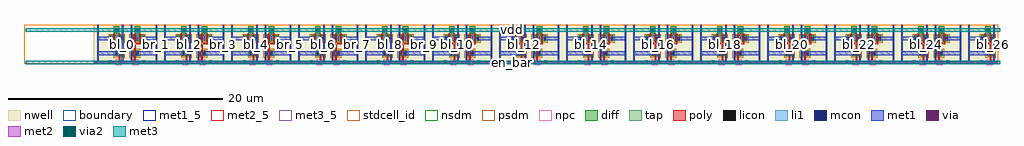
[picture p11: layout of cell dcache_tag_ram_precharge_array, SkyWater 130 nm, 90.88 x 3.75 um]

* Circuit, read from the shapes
.subckt dcache_tag_ram_precharge_array bl_0 bl_1 bl_10 bl_11 bl_12 bl_13 bl_14 bl_15 bl_16 bl_17 bl_18 bl_19 bl_2 bl_20 bl_21 bl_22 bl_23 bl_24 bl_25 bl_26 bl_3 bl_4 bl_5 bl_6 bl_7 bl_8 bl_9 br_0 br_1 br_10 br_11 br_12 br_13 br_14 br_15 br_16 br_17 br_18 br_19 br_2 br_20 br_21 br_22 br_23 br_24 br_25 br_26 br_3 br_4 br_5 br_6 br_7 br_8 br_9 en_bar vdd
XM1 vdd en_bar br_0 vdd sky130_fd_pr__pfet_01v8 w=0.55 l=0.15
XM2 bl_0 en_bar br_0 vdd sky130_fd_pr__pfet_01v8 w=0.55 l=0.15
XM3 bl_0 en_bar vdd vdd sky130_fd_pr__pfet_01v8 w=0.55 l=0.15
XM4 br_1 en_bar bl_1 vdd sky130_fd_pr__pfet_01v8 w=0.55 l=0.15
XM5 vdd en_bar bl_1 vdd sky130_fd_pr__pfet_01v8 w=0.55 l=0.15
XM6 br_1 en_bar vdd vdd sky130_fd_pr__pfet_01v8 w=0.55 l=0.15
XM7 vdd en_bar br_2 vdd sky130_fd_pr__pfet_01v8 w=0.55 l=0.15
XM8 bl_2 en_bar br_2 vdd sky130_fd_pr__pfet_01v8 w=0.55 l=0.15
XM9 bl_2 en_bar vdd vdd sky130_fd_pr__pfet_01v8 w=0.55 l=0.15
XM10 br_3 en_bar bl_3 vdd sky130_fd_pr__pfet_01v8 w=0.55 l=0.15
XM11 vdd en_bar bl_3 vdd sky130_fd_pr__pfet_01v8 w=0.55 l=0.15
XM12 br_3 en_bar vdd vdd sky130_fd_pr__pfet_01v8 w=0.55 l=0.15
XM13 vdd en_bar br_4 vdd sky130_fd_pr__pfet_01v8 w=0.55 l=0.15
XM14 bl_4 en_bar br_4 vdd sky130_fd_pr__pfet_01v8 w=0.55 l=0.15
XM15 bl_4 en_bar vdd vdd sky130_fd_pr__pfet_01v8 w=0.55 l=0.15
XM16 br_5 en_bar bl_5 vdd sky130_fd_pr__pfet_01v8 w=0.55 l=0.15
XM17 vdd en_bar bl_5 vdd sky130_fd_pr__pfet_01v8 w=0.55 l=0.15
XM18 br_5 en_bar vdd vdd sky130_fd_pr__pfet_01v8 w=0.55 l=0.15
XM19 vdd en_bar br_6 vdd sky130_fd_pr__pfet_01v8 w=0.55 l=0.15
XM20 bl_6 en_bar br_6 vdd sky130_fd_pr__pfet_01v8 w=0.55 l=0.15
XM21 bl_6 en_bar vdd vdd sky130_fd_pr__pfet_01v8 w=0.55 l=0.15
XM22 br_7 en_bar bl_7 vdd sky130_fd_pr__pfet_01v8 w=0.55 l=0.15
XM23 vdd en_bar bl_7 vdd sky130_fd_pr__pfet_01v8 w=0.55 l=0.15
XM24 br_7 en_bar vdd vdd sky130_fd_pr__pfet_01v8 w=0.55 l=0.15
XM25 vdd en_bar br_8 vdd sky130_fd_pr__pfet_01v8 w=0.55 l=0.15
XM26 bl_8 en_bar br_8 vdd sky130_fd_pr__pfet_01v8 w=0.55 l=0.15
XM27 bl_8 en_bar vdd vdd sky130_fd_pr__pfet_01v8 w=0.55 l=0.15
XM28 br_9 en_bar bl_9 vdd sky130_fd_pr__pfet_01v8 w=0.55 l=0.15
XM29 vdd en_bar bl_9 vdd sky130_fd_pr__pfet_01v8 w=0.55 l=0.15
XM30 br_9 en_bar vdd vdd sky130_fd_pr__pfet_01v8 w=0.55 l=0.15
XM31 vdd en_bar br_10 vdd sky130_fd_pr__pfet_01v8 w=0.55 l=0.15
XM32 bl_10 en_bar br_10 vdd sky130_fd_pr__pfet_01v8 w=0.55 l=0.15
XM33 bl_10 en_bar vdd vdd sky130_fd_pr__pfet_01v8 w=0.55 l=0.15
XM34 br_11 en_bar bl_11 vdd sky130_fd_pr__pfet_01v8 w=0.55 l=0.15
XM35 vdd en_bar bl_11 vdd sky130_fd_pr__pfet_01v8 w=0.55 l=0.15
XM36 br_11 en_bar vdd vdd sky130_fd_pr__pfet_01v8 w=0.55 l=0.15
XM37 vdd en_bar br_12 vdd sky130_fd_pr__pfet_01v8 w=0.55 l=0.15
XM38 bl_12 en_bar br_12 vdd sky130_fd_pr__pfet_01v8 w=0.55 l=0.15
XM39 bl_12 en_bar vdd vdd sky130_fd_pr__pfet_01v8 w=0.55 l=0.15
XM40 br_13 en_bar bl_13 vdd sky130_fd_pr__pfet_01v8 w=0.55 l=0.15
XM41 vdd en_bar bl_13 vdd sky130_fd_pr__pfet_01v8 w=0.55 l=0.15
XM42 br_13 en_bar vdd vdd sky130_fd_pr__pfet_01v8 w=0.55 l=0.15
XM43 vdd en_bar br_14 vdd sky130_fd_pr__pfet_01v8 w=0.55 l=0.15
XM44 bl_14 en_bar br_14 vdd sky130_fd_pr__pfet_01v8 w=0.55 l=0.15
XM45 bl_14 en_bar vdd vdd sky130_fd_pr__pfet_01v8 w=0.55 l=0.15
XM46 br_15 en_bar bl_15 vdd sky130_fd_pr__pfet_01v8 w=0.55 l=0.15
XM47 vdd en_bar bl_15 vdd sky130_fd_pr__pfet_01v8 w=0.55 l=0.15
XM48 br_15 en_bar vdd vdd sky130_fd_pr__pfet_01v8 w=0.55 l=0.15
XM49 vdd en_bar br_16 vdd sky130_fd_pr__pfet_01v8 w=0.55 l=0.15
XM50 bl_16 en_bar br_16 vdd sky130_fd_pr__pfet_01v8 w=0.55 l=0.15
XM51 bl_16 en_bar vdd vdd sky130_fd_pr__pfet_01v8 w=0.55 l=0.15
XM52 br_17 en_bar bl_17 vdd sky130_fd_pr__pfet_01v8 w=0.55 l=0.15
XM53 vdd en_bar bl_17 vdd sky130_fd_pr__pfet_01v8 w=0.55 l=0.15
XM54 br_17 en_bar vdd vdd sky130_fd_pr__pfet_01v8 w=0.55 l=0.15
XM55 vdd en_bar br_18 vdd sky130_fd_pr__pfet_01v8 w=0.55 l=0.15
XM56 bl_18 en_bar br_18 vdd sky130_fd_pr__pfet_01v8 w=0.55 l=0.15
XM57 bl_18 en_bar vdd vdd sky130_fd_pr__pfet_01v8 w=0.55 l=0.15
XM58 br_19 en_bar bl_19 vdd sky130_fd_pr__pfet_01v8 w=0.55 l=0.15
XM59 vdd en_bar bl_19 vdd sky130_fd_pr__pfet_01v8 w=0.55 l=0.15
XM60 br_19 en_bar vdd vdd sky130_fd_pr__pfet_01v8 w=0.55 l=0.15
XM61 vdd en_bar br_20 vdd sky130_fd_pr__pfet_01v8 w=0.55 l=0.15
XM62 bl_20 en_bar br_20 vdd sky130_fd_pr__pfet_01v8 w=0.55 l=0.15
XM63 bl_20 en_bar vdd vdd sky130_fd_pr__pfet_01v8 w=0.55 l=0.15
XM64 br_21 en_bar bl_21 vdd sky130_fd_pr__pfet_01v8 w=0.55 l=0.15
XM65 vdd en_bar bl_21 vdd sky130_fd_pr__pfet_01v8 w=0.55 l=0.15
XM66 br_21 en_bar vdd vdd sky130_fd_pr__pfet_01v8 w=0.55 l=0.15
XM67 vdd en_bar br_22 vdd sky130_fd_pr__pfet_01v8 w=0.55 l=0.15
XM68 bl_22 en_bar br_22 vdd sky130_fd_pr__pfet_01v8 w=0.55 l=0.15
XM69 bl_22 en_bar vdd vdd sky130_fd_pr__pfet_01v8 w=0.55 l=0.15
XM70 br_23 en_bar bl_23 vdd sky130_fd_pr__pfet_01v8 w=0.55 l=0.15
XM71 vdd en_bar bl_23 vdd sky130_fd_pr__pfet_01v8 w=0.55 l=0.15
XM72 br_23 en_bar vdd vdd sky130_fd_pr__pfet_01v8 w=0.55 l=0.15
XM73 vdd en_bar br_24 vdd sky130_fd_pr__pfet_01v8 w=0.55 l=0.15
XM74 bl_24 en_bar br_24 vdd sky130_fd_pr__pfet_01v8 w=0.55 l=0.15
XM75 bl_24 en_bar vdd vdd sky130_fd_pr__pfet_01v8 w=0.55 l=0.15
XM76 br_25 en_bar bl_25 vdd sky130_fd_pr__pfet_01v8 w=0.55 l=0.15
XM77 vdd en_bar bl_25 vdd sky130_fd_pr__pfet_01v8 w=0.55 l=0.15
XM78 br_25 en_bar vdd vdd sky130_fd_pr__pfet_01v8 w=0.55 l=0.15
XM79 vdd en_bar br_26 vdd sky130_fd_pr__pfet_01v8 w=0.55 l=0.15
XM80 bl_26 en_bar br_26 vdd sky130_fd_pr__pfet_01v8 w=0.55 l=0.15
XM81 bl_26 en_bar vdd vdd sky130_fd_pr__pfet_01v8 w=0.55 l=0.15
.ends

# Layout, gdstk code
from math import pi, radians
import gdstk
lib = gdstk.Library(unit=1e-6, precision=1e-09)
def R(c, l, rs):  # rectangles x0, y0, x1, y1
    for r in rs: c.add(gdstk.rectangle(r[:2], r[2:], *l))
def A(c, l, x, y, w, h, nx, ny, dx, dy):  # array of equal rectangles
    R(c, l, [(x+i*dx, y+j*dy, x+i*dx+w, y+j*dy+h) for i in range(nx) for j in range(ny)])
nwell = (64, 20)
diff = (65, 20)
tap = (65, 44)
poly = (66, 20)
licon = (66, 44)
li1 = (67, 20)
mcon = (67, 44)
met1_5 = (68, 5)
met1 = (68, 20)
via = (68, 44)
met2_5 = (69, 5)
met2 = (69, 20)
via2 = (69, 44)
met3_5 = (70, 5)
met3 = (70, 20)
stdcell_id = (81, 4)
nsdm = (93, 44)
psdm = (94, 20)
npc = (95, 20)
boundary = (235, 4)

dcache_tag_ram_contact_1 = lib.new_cell('dcache_tag_ram_contact_11')
R(dcache_tag_ram_contact_1, nwell, [(-0.295,-0.255,0.545,0.585)])
R(dcache_tag_ram_contact_1, diff, [(0,0.02,0.25,0.31)])
R(dcache_tag_ram_contact_1, licon, [(0.04,0.08,0.21,0.25)])
R(dcache_tag_ram_contact_1, li1, [(0.04,0,0.21,0.33)])
R(dcache_tag_ram_contact_1, stdcell_id, [(-0.295,-0.255,0.545,0.585)])
R(dcache_tag_ram_contact_1, psdm, [(-0.125,-0.105,0.375,0.435)])
R(dcache_tag_ram_contact_1, boundary, [(-0.295,-0.255,0.545,0.585)])

dcache_tag_ram_pmos_m1_w = lib.new_cell('dcache_tag_ram_pmos_m1_w0_550_sli_dli')
R(dcache_tag_ram_pmos_m1_w, nwell, [(-0.27,-0.27,1.02,0.82)])
R(dcache_tag_ram_pmos_m1_w, diff, [(0,0,0.75,0.55)])
R(dcache_tag_ram_pmos_m1_w, poly, [(0.3,-0.13,0.45,0.68), (0.3,-0.13,0.45,0.68)])
R(dcache_tag_ram_pmos_m1_w, li1, [(0.04,0.11,0.21,0.44), (0.54,0.11,0.71,0.44)])
R(dcache_tag_ram_pmos_m1_w, stdcell_id, [(-0.27,-0.27,1.02,0.82)])
R(dcache_tag_ram_pmos_m1_w, psdm, [(-0.125,-0.125,0.875,0.675)])
R(dcache_tag_ram_pmos_m1_w, boundary, [(-0.27,-0.27,1.02,0.82)])
dcache_tag_ram_pmos_m1_w.add(gdstk.Reference(dcache_tag_ram_contact_1, (0,0.11)))
dcache_tag_ram_pmos_m1_w.add(gdstk.Reference(dcache_tag_ram_contact_1, (0.5,0.11)))
dcache_tag_ram_pmos_m1_w.add(gdstk.Label('G', (0.375,0.275), layer=66, texttype=5))
dcache_tag_ram_pmos_m1_w.add(gdstk.Label('S', (0.125,0.275), layer=67, texttype=5))
dcache_tag_ram_pmos_m1_w.add(gdstk.Label('D', (0.625,0.275), layer=67, texttype=5))

c_dcache_tag_ram_contact_1 = lib.new_cell('dcache_tag_ram_contact_15')
R(c_dcache_tag_ram_contact_1, poly, [(0,0,0.33,0.33)])
R(c_dcache_tag_ram_contact_1, licon, [(0.08,0.08,0.25,0.25)])
R(c_dcache_tag_ram_contact_1, li1, [(0.08,0,0.25,0.33)])
R(c_dcache_tag_ram_contact_1, stdcell_id, [(-0.1,-0.1,0.43,0.43)])
R(c_dcache_tag_ram_contact_1, npc, [(-0.1,-0.1,0.43,0.43)])
R(c_dcache_tag_ram_contact_1, boundary, [(-0.1,-0.1,0.43,0.43)])

c_dcache_tag_ram_contact_1_ = lib.new_cell('dcache_tag_ram_contact_13')
R(c_dcache_tag_ram_contact_1_, li1, [(0.06,0,0.23,0.33)])
R(c_dcache_tag_ram_contact_1_, mcon, [(0.06,0.08,0.23,0.25)])
R(c_dcache_tag_ram_contact_1_, met1, [(0,0.05,0.29,0.28)])
R(c_dcache_tag_ram_contact_1_, stdcell_id, [(0,0,0.29,0.33)])
R(c_dcache_tag_ram_contact_1_, boundary, [(0,0,0.29,0.33)])

c_dcache_tag_ram_contact_1__ = lib.new_cell('dcache_tag_ram_contact_18')
R(c_dcache_tag_ram_contact_1__, met1, [(0,0.03,0.32,0.29)])
R(c_dcache_tag_ram_contact_1__, via, [(0.085,0.085,0.235,0.235)])
R(c_dcache_tag_ram_contact_1__, met2, [(0.03,0,0.29,0.32)])
R(c_dcache_tag_ram_contact_1__, stdcell_id, [(0,0,0.32,0.32)])
R(c_dcache_tag_ram_contact_1__, boundary, [(0,0,0.32,0.32)])

c_dcache_tag_ram_contact_1___ = lib.new_cell('dcache_tag_ram_contact_12')
R(c_dcache_tag_ram_contact_1___, nwell, [(-0.295,-0.215,0.545,0.625)])
R(c_dcache_tag_ram_contact_1___, tap, [(0,0,0.25,0.41)])
R(c_dcache_tag_ram_contact_1___, licon, [(0.04,0.12,0.21,0.29)])
R(c_dcache_tag_ram_contact_1___, li1, [(0.04,0.04,0.21,0.37)])
R(c_dcache_tag_ram_contact_1___, stdcell_id, [(-0.295,-0.215,0.545,0.625)])
R(c_dcache_tag_ram_contact_1___, nsdm, [(-0.125,-0.125,0.375,0.535)])
R(c_dcache_tag_ram_contact_1___, boundary, [(-0.295,-0.215,0.545,0.625)])

dcache_tag_ram_contact_2 = lib.new_cell('dcache_tag_ram_contact_23')
R(dcache_tag_ram_contact_2, li1, [(0.03,0,0.2,0.33)])
R(dcache_tag_ram_contact_2, mcon, [(0.03,0.08,0.2,0.25)])
R(dcache_tag_ram_contact_2, met1, [(0,0.02,0.23,0.31)])
R(dcache_tag_ram_contact_2, stdcell_id, [(0,0,0.23,0.33)])
R(dcache_tag_ram_contact_2, boundary, [(0,0,0.23,0.33)])

dcache_tag_ram_precharge = lib.new_cell('dcache_tag_ram_precharge_0')
R(dcache_tag_ram_precharge, nwell, [(0,0,3.12,3.61)])
R(dcache_tag_ram_precharge, poly, [(0.64,0.05,0.79,0.2), (0.715,0.05,0.79,0.2), (0.64,0.125,0.79,0.56), (0.64,1.37,0.79,1.95), (0.64,1.8,1.29,1.95)])
R(dcache_tag_ram_precharge, li1, [(0.88,2.355,1.05,3.14), (0.88,3.055,1.05,3.225)])
R(dcache_tag_ram_precharge, met1_5, [(0.33,0,0.47,3.61), (2.65,0,2.79,3.61)])
R(dcache_tag_ram_precharge, met1, [(0.63,-0.005,0.95,0.255), (0.33,0,0.47,3.61), (0.33,0,0.47,3.61), (2.65,0,2.79,3.61), (2.65,0,2.79,3.61), (0.4,0.8,0.465,1.13), (0.965,0.8,2.72,1.13), (0.4,2.19,0.465,2.52), (1.465,2.19,2.72,2.52)])
R(dcache_tag_ram_precharge, met2_5, [(0,0.055,3.12,0.195)])
R(dcache_tag_ram_precharge, met2, [(0,0.055,3.12,0.195)])
R(dcache_tag_ram_precharge, stdcell_id, [(0,0,3.12,3.61)])
R(dcache_tag_ram_precharge, boundary, [(0,0,3.12,3.61)])
dcache_tag_ram_precharge.add(gdstk.Reference(dcache_tag_ram_pmos_m1_w, (0.34,0.69)))
dcache_tag_ram_precharge.add(gdstk.Reference(dcache_tag_ram_pmos_m1_w, (0.34,2.08)))
dcache_tag_ram_precharge.add(gdstk.Reference(dcache_tag_ram_pmos_m1_w, (0.84,2.08)))
dcache_tag_ram_precharge.add(gdstk.Reference(c_dcache_tag_ram_contact_1, (0.625,-0.04)))
dcache_tag_ram_precharge.add(gdstk.Reference(c_dcache_tag_ram_contact_1_, (0.645,-0.04)))
dcache_tag_ram_precharge.add(gdstk.Reference(c_dcache_tag_ram_contact_1__, (0.63,-0.035)))
dcache_tag_ram_precharge.add(gdstk.Reference(c_dcache_tag_ram_contact_1___, (0.84,2.935)))
dcache_tag_ram_precharge.add(gdstk.Reference(c_dcache_tag_ram_contact_1_, (0.82,2.975)))
dcache_tag_ram_precharge.add(gdstk.Reference(dcache_tag_ram_contact_2, (0.35,0.8)))
dcache_tag_ram_precharge.add(gdstk.Reference(dcache_tag_ram_contact_2, (0.85,0.8)))
dcache_tag_ram_precharge.add(gdstk.Reference(dcache_tag_ram_contact_2, (0.35,2.19)))
dcache_tag_ram_precharge.add(gdstk.Reference(dcache_tag_ram_contact_2, (1.35,2.19)))
dcache_tag_ram_precharge.add(gdstk.Label('en_bar', (1.56,0.125), layer=69, texttype=5))
dcache_tag_ram_precharge.add(gdstk.Label('vdd', (0.965,3.14), layer=67, texttype=5))
dcache_tag_ram_precharge.add(gdstk.Label('bl', (0.4,1.805), layer=68, texttype=5))
dcache_tag_ram_precharge.add(gdstk.Label('br', (2.72,1.805), layer=68, texttype=5))

c_dcache_tag_ram_contact_2 = lib.new_cell('dcache_tag_ram_contact_21')
R(c_dcache_tag_ram_contact_2, met2, [(0.025,0,0.305,0.37)])
R(c_dcache_tag_ram_contact_2, via2, [(0.065,0.085,0.265,0.285)])
R(c_dcache_tag_ram_contact_2, met3, [(0,0.02,0.33,0.35)])
R(c_dcache_tag_ram_contact_2, stdcell_id, [(0,0,0.33,0.37)])
R(c_dcache_tag_ram_contact_2, boundary, [(0,0,0.33,0.37)])

c_dcache_tag_ram_precharge = lib.new_cell('dcache_tag_ram_precharge_array')
R(c_dcache_tag_ram_precharge, met1_5, [(6.805,0,6.945,3.61), (9.125,0,9.265,3.61), (9.925,0,10.065,3.61), (12.245,0,12.385,3.61), (13.045,0,13.185,3.61), (15.365,0,15.505,3.61), (16.165,0,16.305,3.61), (18.485,0,18.625,3.61), (19.285,0,19.425,3.61), (21.605,0,21.745,3.61), (22.405,0,22.545,3.61), (24.725,0,24.865,3.61), (25.525,0,25.665,3.61), (27.845,0,27.985,3.61), (28.645,0,28.785,3.61), (30.965,0,31.105,3.61), (31.765,0,31.905,3.61), (34.085,0,34.225,3.61), (34.885,0,35.025,3.61), (37.205,0,37.345,3.61), (38.005,0,38.145,3.61), (40.325,0,40.465,3.61), (41.125,0,41.265,3.61), (43.445,0,43.585,3.61), (44.245,0,44.385,3.61), (46.565,0,46.705,3.61), (47.365,0,47.505,3.61), (49.685,0,49.825,3.61), (50.485,0,50.625,3.61), (52.805,0,52.945,3.61), (53.605,0,53.745,3.61), (55.925,0,56.065,3.61), (56.725,0,56.865,3.61), (59.045,0,59.185,3.61), (59.845,0,59.985,3.61), (62.165,0,62.305,3.61), (62.965,0,63.105,3.61), (65.285,0,65.425,3.61), (66.085,0,66.225,3.61), (68.405,0,68.545,3.61), (69.205,0,69.345,3.61), (71.525,0,71.665,3.61), (72.325,0,72.465,3.61), (74.645,0,74.785,3.61), (75.445,0,75.585,3.61), (77.765,0,77.905,3.61), (78.565,0,78.705,3.61), (80.885,0,81.025,3.61), (81.685,0,81.825,3.61), (84.005,0,84.145,3.61), (84.805,0,84.945,3.61), (87.125,0,87.265,3.61), (87.925,0,88.065,3.61), (90.245,0,90.385,3.61)])
R(c_dcache_tag_ram_precharge, met1, [(6.805,0,6.945,3.61), (9.125,0,9.265,3.61), (9.925,0,10.065,3.61), (12.245,0,12.385,3.61), (13.045,0,13.185,3.61), (15.365,0,15.505,3.61), (16.165,0,16.305,3.61), (18.485,0,18.625,3.61), (19.285,0,19.425,3.61), (21.605,0,21.745,3.61), (22.405,0,22.545,3.61), (24.725,0,24.865,3.61), (25.525,0,25.665,3.61), (27.845,0,27.985,3.61), (28.645,0,28.785,3.61), (30.965,0,31.105,3.61), (31.765,0,31.905,3.61), (34.085,0,34.225,3.61), (34.885,0,35.025,3.61), (37.205,0,37.345,3.61), (38.005,0,38.145,3.61), (40.325,0,40.465,3.61), (41.125,0,41.265,3.61), (43.445,0,43.585,3.61), (44.245,0,44.385,3.61), (46.565,0,46.705,3.61), (47.365,0,47.505,3.61), (49.685,0,49.825,3.61), (50.485,0,50.625,3.61), (52.805,0,52.945,3.61), (53.605,0,53.745,3.61), (55.925,0,56.065,3.61), (56.725,0,56.865,3.61), (59.045,0,59.185,3.61), (59.845,0,59.985,3.61), (62.165,0,62.305,3.61), (62.965,0,63.105,3.61), (65.285,0,65.425,3.61), (66.085,0,66.225,3.61), (68.405,0,68.545,3.61), (69.205,0,69.345,3.61), (71.525,0,71.665,3.61), (72.325,0,72.465,3.61), (74.645,0,74.785,3.61), (75.445,0,75.585,3.61), (77.765,0,77.905,3.61), (78.565,0,78.705,3.61), (80.885,0,81.025,3.61), (81.685,0,81.825,3.61), (84.005,0,84.145,3.61), (84.805,0,84.945,3.61), (87.125,0,87.265,3.61), (87.925,0,88.065,3.61), (90.245,0,90.385,3.61), (8.47,3.01,8.79,3.27), (10.4,3.01,10.72,3.27), (14.71,3.01,15.03,3.27), (16.64,3.01,16.96,3.27), (20.95,3.01,21.27,3.27), (22.88,3.01,23.2,3.27), (27.19,3.01,27.51,3.27), (29.12,3.01,29.44,3.27), (33.43,3.01,33.75,3.27), (35.36,3.01,35.68,3.27), (39.67,3.01,39.99,3.27), (41.6,3.01,41.92,3.27), (45.91,3.01,46.23,3.27), (47.84,3.01,48.16,3.27), (52.15,3.01,52.47,3.27), (54.08,3.01,54.4,3.27), (58.39,3.01,58.71,3.27), (60.32,3.01,60.64,3.27), (64.63,3.01,64.95,3.27), (66.56,3.01,66.88,3.27), (70.87,3.01,71.19,3.27), (72.8,3.01,73.12,3.27), (77.11,3.01,77.43,3.27), (79.04,3.01,79.36,3.27), (83.35,3.01,83.67,3.27), (85.28,3.01,85.6,3.27), (89.59,3.01,89.91,3.27)])
A(c_dcache_tag_ram_precharge, met2, 7.895, 0, 0.28, 0.245, 27, 1, 3.12, 0)
R(c_dcache_tag_ram_precharge, met2, [(8.49,3.02,8.77,3.265), (10.42,3.02,10.7,3.265), (14.73,3.02,15.01,3.265), (16.66,3.02,16.94,3.265), (20.97,3.02,21.25,3.265), (22.9,3.02,23.18,3.265), (27.21,3.02,27.49,3.265), (29.14,3.02,29.42,3.265), (33.45,3.02,33.73,3.265), (35.38,3.02,35.66,3.265), (39.69,3.02,39.97,3.265), (41.62,3.02,41.9,3.265), (45.93,3.02,46.21,3.265), (47.86,3.02,48.14,3.265), (52.17,3.02,52.45,3.265), (54.1,3.02,54.38,3.265), (58.41,3.02,58.69,3.265), (60.34,3.02,60.62,3.265), (64.65,3.02,64.93,3.265), (66.58,3.02,66.86,3.265), (70.89,3.02,71.17,3.265), (72.82,3.02,73.1,3.265), (77.13,3.02,77.41,3.265), (79.06,3.02,79.34,3.265), (83.37,3.02,83.65,3.265), (85.3,3.02,85.58,3.265), (89.61,3.02,89.89,3.265)])
R(c_dcache_tag_ram_precharge, met3_5, [(0.165,-0.04,90.88,0.29), (0.165,2.975,90.88,3.305)])
R(c_dcache_tag_ram_precharge, met3, [(0.165,-0.04,90.88,0.29), (0.165,2.975,90.88,3.305)])
R(c_dcache_tag_ram_precharge, stdcell_id, [(0,0,90.715,3.61)])
R(c_dcache_tag_ram_precharge, boundary, [(0,0,90.715,3.61)])
c_dcache_tag_ram_precharge.add(gdstk.Reference(dcache_tag_ram_precharge, (9.595,0), rotation=pi, x_reflection=True))
c_dcache_tag_ram_precharge.add(gdstk.Reference(dcache_tag_ram_precharge, (9.595,0)))
c_dcache_tag_ram_precharge.add(gdstk.Reference(dcache_tag_ram_precharge, (15.835,0), rotation=pi, x_reflection=True))
c_dcache_tag_ram_precharge.add(gdstk.Reference(dcache_tag_ram_precharge, (15.835,0)))
c_dcache_tag_ram_precharge.add(gdstk.Reference(dcache_tag_ram_precharge, (22.075,0), rotation=pi, x_reflection=True))
c_dcache_tag_ram_precharge.add(gdstk.Reference(dcache_tag_ram_precharge, (22.075,0)))
c_dcache_tag_ram_precharge.add(gdstk.Reference(dcache_tag_ram_precharge, (28.315,0), rotation=pi, x_reflection=True))
c_dcache_tag_ram_precharge.add(gdstk.Reference(dcache_tag_ram_precharge, (28.315,0)))
c_dcache_tag_ram_precharge.add(gdstk.Reference(dcache_tag_ram_precharge, (34.555,0), rotation=pi, x_reflection=True))
c_dcache_tag_ram_precharge.add(gdstk.Reference(dcache_tag_ram_precharge, (34.555,0)))
c_dcache_tag_ram_precharge.add(gdstk.Reference(dcache_tag_ram_precharge, (40.795,0), rotation=pi, x_reflection=True))
c_dcache_tag_ram_precharge.add(gdstk.Reference(dcache_tag_ram_precharge, (40.795,0)))
c_dcache_tag_ram_precharge.add(gdstk.Reference(dcache_tag_ram_precharge, (47.035,0), rotation=pi, x_reflection=True))
c_dcache_tag_ram_precharge.add(gdstk.Reference(dcache_tag_ram_precharge, (47.035,0)))
c_dcache_tag_ram_precharge.add(gdstk.Reference(dcache_tag_ram_precharge, (53.275,0), rotation=pi, x_reflection=True))
c_dcache_tag_ram_precharge.add(gdstk.Reference(dcache_tag_ram_precharge, (53.275,0)))
c_dcache_tag_ram_precharge.add(gdstk.Reference(dcache_tag_ram_precharge, (59.515,0), rotation=pi, x_reflection=True))
c_dcache_tag_ram_precharge.add(gdstk.Reference(dcache_tag_ram_precharge, (59.515,0)))
c_dcache_tag_ram_precharge.add(gdstk.Reference(dcache_tag_ram_precharge, (65.755,0), rotation=pi, x_reflection=True))
c_dcache_tag_ram_precharge.add(gdstk.Reference(dcache_tag_ram_precharge, (65.755,0)))
c_dcache_tag_ram_precharge.add(gdstk.Reference(dcache_tag_ram_precharge, (71.995,0), rotation=pi, x_reflection=True))
c_dcache_tag_ram_precharge.add(gdstk.Reference(dcache_tag_ram_precharge, (71.995,0)))
c_dcache_tag_ram_precharge.add(gdstk.Reference(dcache_tag_ram_precharge, (78.235,0), rotation=pi, x_reflection=True))
c_dcache_tag_ram_precharge.add(gdstk.Reference(dcache_tag_ram_precharge, (78.235,0)))
c_dcache_tag_ram_precharge.add(gdstk.Reference(dcache_tag_ram_precharge, (84.475,0), rotation=pi, x_reflection=True))
c_dcache_tag_ram_precharge.add(gdstk.Reference(dcache_tag_ram_precharge, (84.475,0)))
c_dcache_tag_ram_precharge.add(gdstk.Reference(dcache_tag_ram_precharge, (90.715,0), rotation=pi, x_reflection=True))
c_dcache_tag_ram_precharge.add(gdstk.Reference(c_dcache_tag_ram_contact_2, (7.87,-0.06)))
c_dcache_tag_ram_precharge.add(gdstk.Reference(c_dcache_tag_ram_contact_2, (10.99,-0.06)))
c_dcache_tag_ram_precharge.add(gdstk.Reference(c_dcache_tag_ram_contact_2, (14.11,-0.06)))
c_dcache_tag_ram_precharge.add(gdstk.Reference(c_dcache_tag_ram_contact_2, (17.23,-0.06)))
c_dcache_tag_ram_precharge.add(gdstk.Reference(c_dcache_tag_ram_contact_2, (20.35,-0.06)))
c_dcache_tag_ram_precharge.add(gdstk.Reference(c_dcache_tag_ram_contact_2, (23.47,-0.06)))
c_dcache_tag_ram_precharge.add(gdstk.Reference(c_dcache_tag_ram_contact_2, (26.59,-0.06)))
c_dcache_tag_ram_precharge.add(gdstk.Reference(c_dcache_tag_ram_contact_2, (29.71,-0.06)))
c_dcache_tag_ram_precharge.add(gdstk.Reference(c_dcache_tag_ram_contact_2, (32.83,-0.06)))
c_dcache_tag_ram_precharge.add(gdstk.Reference(c_dcache_tag_ram_contact_2, (35.95,-0.06)))
c_dcache_tag_ram_precharge.add(gdstk.Reference(c_dcache_tag_ram_contact_2, (39.07,-0.06)))
c_dcache_tag_ram_precharge.add(gdstk.Reference(c_dcache_tag_ram_contact_2, (42.19,-0.06)))
c_dcache_tag_ram_precharge.add(gdstk.Reference(c_dcache_tag_ram_contact_2, (45.31,-0.06)))
c_dcache_tag_ram_precharge.add(gdstk.Reference(c_dcache_tag_ram_contact_2, (48.43,-0.06)))
c_dcache_tag_ram_precharge.add(gdstk.Reference(c_dcache_tag_ram_contact_2, (51.55,-0.06)))
c_dcache_tag_ram_precharge.add(gdstk.Reference(c_dcache_tag_ram_contact_2, (54.67,-0.06)))
c_dcache_tag_ram_precharge.add(gdstk.Reference(c_dcache_tag_ram_contact_2, (57.79,-0.06)))
c_dcache_tag_ram_precharge.add(gdstk.Reference(c_dcache_tag_ram_contact_2, (60.91,-0.06)))
c_dcache_tag_ram_precharge.add(gdstk.Reference(c_dcache_tag_ram_contact_2, (64.03,-0.06)))
c_dcache_tag_ram_precharge.add(gdstk.Reference(c_dcache_tag_ram_contact_2, (67.15,-0.06)))
c_dcache_tag_ram_precharge.add(gdstk.Reference(c_dcache_tag_ram_contact_2, (70.27,-0.06)))
c_dcache_tag_ram_precharge.add(gdstk.Reference(c_dcache_tag_ram_contact_2, (73.39,-0.06)))
c_dcache_tag_ram_precharge.add(gdstk.Reference(c_dcache_tag_ram_contact_2, (76.51,-0.06)))
c_dcache_tag_ram_precharge.add(gdstk.Reference(c_dcache_tag_ram_contact_2, (79.63,-0.06)))
c_dcache_tag_ram_precharge.add(gdstk.Reference(c_dcache_tag_ram_contact_2, (82.75,-0.06)))
c_dcache_tag_ram_precharge.add(gdstk.Reference(c_dcache_tag_ram_contact_2, (85.87,-0.06)))
c_dcache_tag_ram_precharge.add(gdstk.Reference(c_dcache_tag_ram_contact_2, (88.99,-0.06)))
c_dcache_tag_ram_precharge.add(gdstk.Reference(c_dcache_tag_ram_contact_2, (7.87,-0.06)))
c_dcache_tag_ram_precharge.add(gdstk.Reference(c_dcache_tag_ram_contact_2, (10.99,-0.06)))
c_dcache_tag_ram_precharge.add(gdstk.Reference(c_dcache_tag_ram_contact_2, (14.11,-0.06)))
c_dcache_tag_ram_precharge.add(gdstk.Reference(c_dcache_tag_ram_contact_2, (17.23,-0.06)))
c_dcache_tag_ram_precharge.add(gdstk.Reference(c_dcache_tag_ram_contact_2, (20.35,-0.06)))
c_dcache_tag_ram_precharge.add(gdstk.Reference(c_dcache_tag_ram_contact_2, (23.47,-0.06)))
c_dcache_tag_ram_precharge.add(gdstk.Reference(c_dcache_tag_ram_contact_2, (26.59,-0.06)))
c_dcache_tag_ram_precharge.add(gdstk.Reference(c_dcache_tag_ram_contact_2, (29.71,-0.06)))
c_dcache_tag_ram_precharge.add(gdstk.Reference(c_dcache_tag_ram_contact_2, (32.83,-0.06)))
c_dcache_tag_ram_precharge.add(gdstk.Reference(c_dcache_tag_ram_contact_2, (35.95,-0.06)))
c_dcache_tag_ram_precharge.add(gdstk.Reference(c_dcache_tag_ram_contact_2, (39.07,-0.06)))
c_dcache_tag_ram_precharge.add(gdstk.Reference(c_dcache_tag_ram_contact_2, (42.19,-0.06)))
c_dcache_tag_ram_precharge.add(gdstk.Reference(c_dcache_tag_ram_contact_2, (45.31,-0.06)))
c_dcache_tag_ram_precharge.add(gdstk.Reference(c_dcache_tag_ram_contact_2, (48.43,-0.06)))
c_dcache_tag_ram_precharge.add(gdstk.Reference(c_dcache_tag_ram_contact_2, (51.55,-0.06)))
c_dcache_tag_ram_precharge.add(gdstk.Reference(c_dcache_tag_ram_contact_2, (54.67,-0.06)))
c_dcache_tag_ram_precharge.add(gdstk.Reference(c_dcache_tag_ram_contact_2, (57.79,-0.06)))
c_dcache_tag_ram_precharge.add(gdstk.Reference(c_dcache_tag_ram_contact_2, (60.91,-0.06)))
c_dcache_tag_ram_precharge.add(gdstk.Reference(c_dcache_tag_ram_contact_2, (64.03,-0.06)))
c_dcache_tag_ram_precharge.add(gdstk.Reference(c_dcache_tag_ram_contact_2, (67.15,-0.06)))
c_dcache_tag_ram_precharge.add(gdstk.Reference(c_dcache_tag_ram_contact_2, (70.27,-0.06)))
c_dcache_tag_ram_precharge.add(gdstk.Reference(c_dcache_tag_ram_contact_2, (73.39,-0.06)))
c_dcache_tag_ram_precharge.add(gdstk.Reference(c_dcache_tag_ram_contact_2, (76.51,-0.06)))
c_dcache_tag_ram_precharge.add(gdstk.Reference(c_dcache_tag_ram_contact_2, (79.63,-0.06)))
c_dcache_tag_ram_precharge.add(gdstk.Reference(c_dcache_tag_ram_contact_2, (82.75,-0.06)))
c_dcache_tag_ram_precharge.add(gdstk.Reference(c_dcache_tag_ram_contact_2, (85.87,-0.06)))
c_dcache_tag_ram_precharge.add(gdstk.Reference(c_dcache_tag_ram_contact_2, (88.99,-0.06)))
c_dcache_tag_ram_precharge.add(gdstk.Reference(c_dcache_tag_ram_contact_1_, (8.485,2.975)))
c_dcache_tag_ram_precharge.add(gdstk.Reference(c_dcache_tag_ram_contact_1__, (8.47,2.98)))
c_dcache_tag_ram_precharge.add(gdstk.Reference(c_dcache_tag_ram_contact_2, (8.465,2.955)))
c_dcache_tag_ram_precharge.add(gdstk.Reference(c_dcache_tag_ram_contact_1_, (10.415,2.975)))
c_dcache_tag_ram_precharge.add(gdstk.Reference(c_dcache_tag_ram_contact_1__, (10.4,2.98)))
c_dcache_tag_ram_precharge.add(gdstk.Reference(c_dcache_tag_ram_contact_2, (10.395,2.955)))
c_dcache_tag_ram_precharge.add(gdstk.Reference(c_dcache_tag_ram_contact_1_, (14.725,2.975)))
c_dcache_tag_ram_precharge.add(gdstk.Reference(c_dcache_tag_ram_contact_1__, (14.71,2.98)))
c_dcache_tag_ram_precharge.add(gdstk.Reference(c_dcache_tag_ram_contact_2, (14.705,2.955)))
c_dcache_tag_ram_precharge.add(gdstk.Reference(c_dcache_tag_ram_contact_1_, (16.655,2.975)))
c_dcache_tag_ram_precharge.add(gdstk.Reference(c_dcache_tag_ram_contact_1__, (16.64,2.98)))
c_dcache_tag_ram_precharge.add(gdstk.Reference(c_dcache_tag_ram_contact_2, (16.635,2.955)))
c_dcache_tag_ram_precharge.add(gdstk.Reference(c_dcache_tag_ram_contact_1_, (20.965,2.975)))
c_dcache_tag_ram_precharge.add(gdstk.Reference(c_dcache_tag_ram_contact_1__, (20.95,2.98)))
c_dcache_tag_ram_precharge.add(gdstk.Reference(c_dcache_tag_ram_contact_2, (20.945,2.955)))
c_dcache_tag_ram_precharge.add(gdstk.Reference(c_dcache_tag_ram_contact_1_, (22.895,2.975)))
c_dcache_tag_ram_precharge.add(gdstk.Reference(c_dcache_tag_ram_contact_1__, (22.88,2.98)))
c_dcache_tag_ram_precharge.add(gdstk.Reference(c_dcache_tag_ram_contact_2, (22.875,2.955)))
c_dcache_tag_ram_precharge.add(gdstk.Reference(c_dcache_tag_ram_contact_1_, (27.205,2.975)))
c_dcache_tag_ram_precharge.add(gdstk.Reference(c_dcache_tag_ram_contact_1__, (27.19,2.98)))
c_dcache_tag_ram_precharge.add(gdstk.Reference(c_dcache_tag_ram_contact_2, (27.185,2.955)))
c_dcache_tag_ram_precharge.add(gdstk.Reference(c_dcache_tag_ram_contact_1_, (29.135,2.975)))
c_dcache_tag_ram_precharge.add(gdstk.Reference(c_dcache_tag_ram_contact_1__, (29.12,2.98)))
c_dcache_tag_ram_precharge.add(gdstk.Reference(c_dcache_tag_ram_contact_2, (29.115,2.955)))
c_dcache_tag_ram_precharge.add(gdstk.Reference(c_dcache_tag_ram_contact_1_, (33.445,2.975)))
c_dcache_tag_ram_precharge.add(gdstk.Reference(c_dcache_tag_ram_contact_1__, (33.43,2.98)))
c_dcache_tag_ram_precharge.add(gdstk.Reference(c_dcache_tag_ram_contact_2, (33.425,2.955)))
c_dcache_tag_ram_precharge.add(gdstk.Reference(c_dcache_tag_ram_contact_1_, (35.375,2.975)))
c_dcache_tag_ram_precharge.add(gdstk.Reference(c_dcache_tag_ram_contact_1__, (35.36,2.98)))
c_dcache_tag_ram_precharge.add(gdstk.Reference(c_dcache_tag_ram_contact_2, (35.355,2.955)))
c_dcache_tag_ram_precharge.add(gdstk.Reference(c_dcache_tag_ram_contact_1_, (39.685,2.975)))
c_dcache_tag_ram_precharge.add(gdstk.Reference(c_dcache_tag_ram_contact_1__, (39.67,2.98)))
c_dcache_tag_ram_precharge.add(gdstk.Reference(c_dcache_tag_ram_contact_2, (39.665,2.955)))
c_dcache_tag_ram_precharge.add(gdstk.Reference(c_dcache_tag_ram_contact_1_, (41.615,2.975)))
c_dcache_tag_ram_precharge.add(gdstk.Reference(c_dcache_tag_ram_contact_1__, (41.6,2.98)))
c_dcache_tag_ram_precharge.add(gdstk.Reference(c_dcache_tag_ram_contact_2, (41.595,2.955)))
c_dcache_tag_ram_precharge.add(gdstk.Reference(c_dcache_tag_ram_contact_1_, (45.925,2.975)))
c_dcache_tag_ram_precharge.add(gdstk.Reference(c_dcache_tag_ram_contact_1__, (45.91,2.98)))
c_dcache_tag_ram_precharge.add(gdstk.Reference(c_dcache_tag_ram_contact_2, (45.905,2.955)))
c_dcache_tag_ram_precharge.add(gdstk.Reference(c_dcache_tag_ram_contact_1_, (47.855,2.975)))
c_dcache_tag_ram_precharge.add(gdstk.Reference(c_dcache_tag_ram_contact_1__, (47.84,2.98)))
c_dcache_tag_ram_precharge.add(gdstk.Reference(c_dcache_tag_ram_contact_2, (47.835,2.955)))
c_dcache_tag_ram_precharge.add(gdstk.Reference(c_dcache_tag_ram_contact_1_, (52.165,2.975)))
c_dcache_tag_ram_precharge.add(gdstk.Reference(c_dcache_tag_ram_contact_1__, (52.15,2.98)))
c_dcache_tag_ram_precharge.add(gdstk.Reference(c_dcache_tag_ram_contact_2, (52.145,2.955)))
c_dcache_tag_ram_precharge.add(gdstk.Reference(c_dcache_tag_ram_contact_1_, (54.095,2.975)))
c_dcache_tag_ram_precharge.add(gdstk.Reference(c_dcache_tag_ram_contact_1__, (54.08,2.98)))
c_dcache_tag_ram_precharge.add(gdstk.Reference(c_dcache_tag_ram_contact_2, (54.075,2.955)))
c_dcache_tag_ram_precharge.add(gdstk.Reference(c_dcache_tag_ram_contact_1_, (58.405,2.975)))
c_dcache_tag_ram_precharge.add(gdstk.Reference(c_dcache_tag_ram_contact_1__, (58.39,2.98)))
c_dcache_tag_ram_precharge.add(gdstk.Reference(c_dcache_tag_ram_contact_2, (58.385,2.955)))
c_dcache_tag_ram_precharge.add(gdstk.Reference(c_dcache_tag_ram_contact_1_, (60.335,2.975)))
c_dcache_tag_ram_precharge.add(gdstk.Reference(c_dcache_tag_ram_contact_1__, (60.32,2.98)))
c_dcache_tag_ram_precharge.add(gdstk.Reference(c_dcache_tag_ram_contact_2, (60.315,2.955)))
c_dcache_tag_ram_precharge.add(gdstk.Reference(c_dcache_tag_ram_contact_1_, (64.645,2.975)))
c_dcache_tag_ram_precharge.add(gdstk.Reference(c_dcache_tag_ram_contact_1__, (64.63,2.98)))
c_dcache_tag_ram_precharge.add(gdstk.Reference(c_dcache_tag_ram_contact_2, (64.625,2.955)))
c_dcache_tag_ram_precharge.add(gdstk.Reference(c_dcache_tag_ram_contact_1_, (66.575,2.975)))
c_dcache_tag_ram_precharge.add(gdstk.Reference(c_dcache_tag_ram_contact_1__, (66.56,2.98)))
c_dcache_tag_ram_precharge.add(gdstk.Reference(c_dcache_tag_ram_contact_2, (66.555,2.955)))
c_dcache_tag_ram_precharge.add(gdstk.Reference(c_dcache_tag_ram_contact_1_, (70.885,2.975)))
c_dcache_tag_ram_precharge.add(gdstk.Reference(c_dcache_tag_ram_contact_1__, (70.87,2.98)))
c_dcache_tag_ram_precharge.add(gdstk.Reference(c_dcache_tag_ram_contact_2, (70.865,2.955)))
c_dcache_tag_ram_precharge.add(gdstk.Reference(c_dcache_tag_ram_contact_1_, (72.815,2.975)))
c_dcache_tag_ram_precharge.add(gdstk.Reference(c_dcache_tag_ram_contact_1__, (72.8,2.98)))
c_dcache_tag_ram_precharge.add(gdstk.Reference(c_dcache_tag_ram_contact_2, (72.795,2.955)))
c_dcache_tag_ram_precharge.add(gdstk.Reference(c_dcache_tag_ram_contact_1_, (77.125,2.975)))
c_dcache_tag_ram_precharge.add(gdstk.Reference(c_dcache_tag_ram_contact_1__, (77.11,2.98)))
c_dcache_tag_ram_precharge.add(gdstk.Reference(c_dcache_tag_ram_contact_2, (77.105,2.955)))
c_dcache_tag_ram_precharge.add(gdstk.Reference(c_dcache_tag_ram_contact_1_, (79.055,2.975)))
c_dcache_tag_ram_precharge.add(gdstk.Reference(c_dcache_tag_ram_contact_1__, (79.04,2.98)))
c_dcache_tag_ram_precharge.add(gdstk.Reference(c_dcache_tag_ram_contact_2, (79.035,2.955)))
c_dcache_tag_ram_precharge.add(gdstk.Reference(c_dcache_tag_ram_contact_1_, (83.365,2.975)))
c_dcache_tag_ram_precharge.add(gdstk.Reference(c_dcache_tag_ram_contact_1__, (83.35,2.98)))
c_dcache_tag_ram_precharge.add(gdstk.Reference(c_dcache_tag_ram_contact_2, (83.345,2.955)))
c_dcache_tag_ram_precharge.add(gdstk.Reference(c_dcache_tag_ram_contact_1_, (85.295,2.975)))
c_dcache_tag_ram_precharge.add(gdstk.Reference(c_dcache_tag_ram_contact_1__, (85.28,2.98)))
c_dcache_tag_ram_precharge.add(gdstk.Reference(c_dcache_tag_ram_contact_2, (85.275,2.955)))
c_dcache_tag_ram_precharge.add(gdstk.Reference(c_dcache_tag_ram_contact_1_, (89.605,2.975)))
c_dcache_tag_ram_precharge.add(gdstk.Reference(c_dcache_tag_ram_contact_1__, (89.59,2.98)))
c_dcache_tag_ram_precharge.add(gdstk.Reference(c_dcache_tag_ram_contact_2, (89.585,2.955)))
c_dcache_tag_ram_precharge.add(gdstk.Label('en_bar', (45.522,0.125), layer=70, texttype=5))
c_dcache_tag_ram_precharge.add(gdstk.Label('bl_0', (9.195,1.805), layer=68, texttype=5))
c_dcache_tag_ram_precharge.add(gdstk.Label('br_0', (6.875,1.805), layer=68, texttype=5))
c_dcache_tag_ram_precharge.add(gdstk.Label('bl_1', (9.995,1.805), layer=68, texttype=5))
c_dcache_tag_ram_precharge.add(gdstk.Label('br_1', (12.315,1.805), layer=68, texttype=5))
c_dcache_tag_ram_precharge.add(gdstk.Label('bl_2', (15.435,1.805), layer=68, texttype=5))
c_dcache_tag_ram_precharge.add(gdstk.Label('br_2', (13.115,1.805), layer=68, texttype=5))
c_dcache_tag_ram_precharge.add(gdstk.Label('bl_3', (16.235,1.805), layer=68, texttype=5))
c_dcache_tag_ram_precharge.add(gdstk.Label('br_3', (18.555,1.805), layer=68, texttype=5))
c_dcache_tag_ram_precharge.add(gdstk.Label('bl_4', (21.675,1.805), layer=68, texttype=5))
c_dcache_tag_ram_precharge.add(gdstk.Label('br_4', (19.355,1.805), layer=68, texttype=5))
c_dcache_tag_ram_precharge.add(gdstk.Label('bl_5', (22.475,1.805), layer=68, texttype=5))
c_dcache_tag_ram_precharge.add(gdstk.Label('br_5', (24.795,1.805), layer=68, texttype=5))
c_dcache_tag_ram_precharge.add(gdstk.Label('bl_6', (27.915,1.805), layer=68, texttype=5))
c_dcache_tag_ram_precharge.add(gdstk.Label('br_6', (25.595,1.805), layer=68, texttype=5))
c_dcache_tag_ram_precharge.add(gdstk.Label('bl_7', (28.715,1.805), layer=68, texttype=5))
c_dcache_tag_ram_precharge.add(gdstk.Label('br_7', (31.035,1.805), layer=68, texttype=5))
c_dcache_tag_ram_precharge.add(gdstk.Label('bl_8', (34.155,1.805), layer=68, texttype=5))
c_dcache_tag_ram_precharge.add(gdstk.Label('br_8', (31.835,1.805), layer=68, texttype=5))
c_dcache_tag_ram_precharge.add(gdstk.Label('bl_9', (34.955,1.805), layer=68, texttype=5))
c_dcache_tag_ram_precharge.add(gdstk.Label('br_9', (37.275,1.805), layer=68, texttype=5))
c_dcache_tag_ram_precharge.add(gdstk.Label('bl_10', (40.395,1.805), layer=68, texttype=5))
c_dcache_tag_ram_precharge.add(gdstk.Label('br_10', (38.075,1.805), layer=68, texttype=5))
c_dcache_tag_ram_precharge.add(gdstk.Label('bl_11', (41.195,1.805), layer=68, texttype=5))
c_dcache_tag_ram_precharge.add(gdstk.Label('br_11', (43.515,1.805), layer=68, texttype=5))
c_dcache_tag_ram_precharge.add(gdstk.Label('bl_12', (46.635,1.805), layer=68, texttype=5))
c_dcache_tag_ram_precharge.add(gdstk.Label('br_12', (44.315,1.805), layer=68, texttype=5))
c_dcache_tag_ram_precharge.add(gdstk.Label('bl_13', (47.435,1.805), layer=68, texttype=5))
c_dcache_tag_ram_precharge.add(gdstk.Label('br_13', (49.755,1.805), layer=68, texttype=5))
c_dcache_tag_ram_precharge.add(gdstk.Label('bl_14', (52.875,1.805), layer=68, texttype=5))
c_dcache_tag_ram_precharge.add(gdstk.Label('br_14', (50.555,1.805), layer=68, texttype=5))
c_dcache_tag_ram_precharge.add(gdstk.Label('bl_15', (53.675,1.805), layer=68, texttype=5))
c_dcache_tag_ram_precharge.add(gdstk.Label('br_15', (55.995,1.805), layer=68, texttype=5))
c_dcache_tag_ram_precharge.add(gdstk.Label('bl_16', (59.115,1.805), layer=68, texttype=5))
c_dcache_tag_ram_precharge.add(gdstk.Label('br_16', (56.795,1.805), layer=68, texttype=5))
c_dcache_tag_ram_precharge.add(gdstk.Label('bl_17', (59.915,1.805), layer=68, texttype=5))
c_dcache_tag_ram_precharge.add(gdstk.Label('br_17', (62.235,1.805), layer=68, texttype=5))
c_dcache_tag_ram_precharge.add(gdstk.Label('bl_18', (65.355,1.805), layer=68, texttype=5))
c_dcache_tag_ram_precharge.add(gdstk.Label('br_18', (63.035,1.805), layer=68, texttype=5))
c_dcache_tag_ram_precharge.add(gdstk.Label('bl_19', (66.155,1.805), layer=68, texttype=5))
c_dcache_tag_ram_precharge.add(gdstk.Label('br_19', (68.475,1.805), layer=68, texttype=5))
c_dcache_tag_ram_precharge.add(gdstk.Label('bl_20', (71.595,1.805), layer=68, texttype=5))
c_dcache_tag_ram_precharge.add(gdstk.Label('br_20', (69.275,1.805), layer=68, texttype=5))
c_dcache_tag_ram_precharge.add(gdstk.Label('bl_21', (72.395,1.805), layer=68, texttype=5))
c_dcache_tag_ram_precharge.add(gdstk.Label('br_21', (74.715,1.805), layer=68, texttype=5))
c_dcache_tag_ram_precharge.add(gdstk.Label('bl_22', (77.835,1.805), layer=68, texttype=5))
c_dcache_tag_ram_precharge.add(gdstk.Label('br_22', (75.515,1.805), layer=68, texttype=5))
c_dcache_tag_ram_precharge.add(gdstk.Label('bl_23', (78.635,1.805), layer=68, texttype=5))
c_dcache_tag_ram_precharge.add(gdstk.Label('br_23', (80.955,1.805), layer=68, texttype=5))
c_dcache_tag_ram_precharge.add(gdstk.Label('bl_24', (84.075,1.805), layer=68, texttype=5))
c_dcache_tag_ram_precharge.add(gdstk.Label('br_24', (81.755,1.805), layer=68, texttype=5))
c_dcache_tag_ram_precharge.add(gdstk.Label('bl_25', (84.875,1.805), layer=68, texttype=5))
c_dcache_tag_ram_precharge.add(gdstk.Label('br_25', (87.195,1.805), layer=68, texttype=5))
c_dcache_tag_ram_precharge.add(gdstk.Label('bl_26', (90.315,1.805), layer=68, texttype=5))
c_dcache_tag_ram_precharge.add(gdstk.Label('br_26', (87.995,1.805), layer=68, texttype=5))
c_dcache_tag_ram_precharge.add(gdstk.Label('vdd', (45.522,3.14), layer=70, texttype=5))

lib.write_gds('dcache_tag_ram_precharge_array.gds')
